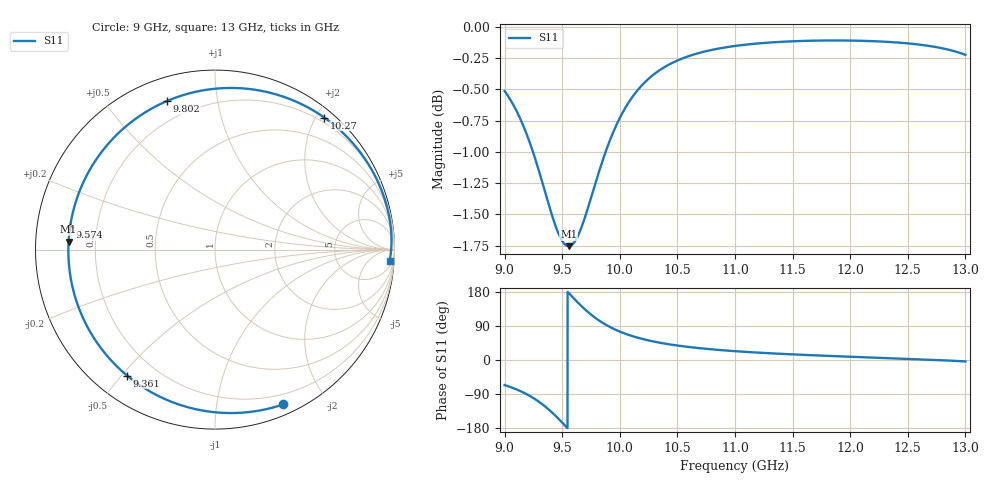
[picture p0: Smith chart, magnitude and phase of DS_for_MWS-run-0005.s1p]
! TOUCHSTONE file generated by CST DESIGN STUDIO
! Date and time: Tue Feb  4 17:36:24 2025
! Project name: C:\Work\MatlabApps\UnitCellOptimizationMatlab\CST\unitcell.cst
! Tree item: Tasks\Sweep1\SPara1\S-Parameters
! Header version: 2024
! Port assignment regex: !\s*Touchstone port\s*([0-9]+)\s*=\s*(CST MWS port|CST DES external port|CST DES block port)\s*(.+)\s* \(\"(.*)\"\)(\s*mode\s*([0-9]+))?.*
! Touchstone port assignment:
! Touchstone port 1 = CST DES external port 1 ("")
# GHz S MA R 50
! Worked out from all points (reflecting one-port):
!   4001 points, 9 GHz to 13 GHz, reference 50 ohm
!   lowest |S11| = -1.8 dB at 9.556 GHz (marker M1), VSWR 9.93, Z = 5.04 + j1.34 ohm
!   phase of S11 starts at -66 deg and turns -298 deg over the sweep
!   S11 on the Smith chart (normalised r, x): 9 GHz: 0.10, -1.53; 9.361 GHz: 0.10, -0.52; 9.574 GHz: 0.10, +0.08; 9.802 GHz: 0.11, +0.72; 10.27 GHz: 0.13, +2.12; 13 GHz: 10, -26
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9  0.9427 -66.1
9.038  0.937 -70.0
9.103  0.9256 -77.6
9.214  0.9001 -94.0
9.291  0.8779 -108.7
9.361  0.8559 -124.9
9.427  0.8363 -142.8
9.465  0.8271 -154.1
9.5  0.821 -165.1
9.556  0.817 176.9
9.574  0.8174 171.1
9.629  0.8235 153.7
9.692  0.8376 135.1
9.746  0.853 120.9
9.802  0.8699 107.9
9.844  0.8822 99.4
9.89  0.8947 91.1
10  0.9195 75.0
10.126  0.9398 61.5
10.27  0.9551 50.3
10.378  0.963 43.9
10.5  0.9695 38.2
10.721  0.9772 30.3
11  0.9826 23.3
11.5  0.9869 14.8
12  0.9875 8.7
12.5  0.985 3.1
13  0.9746 -3.8
